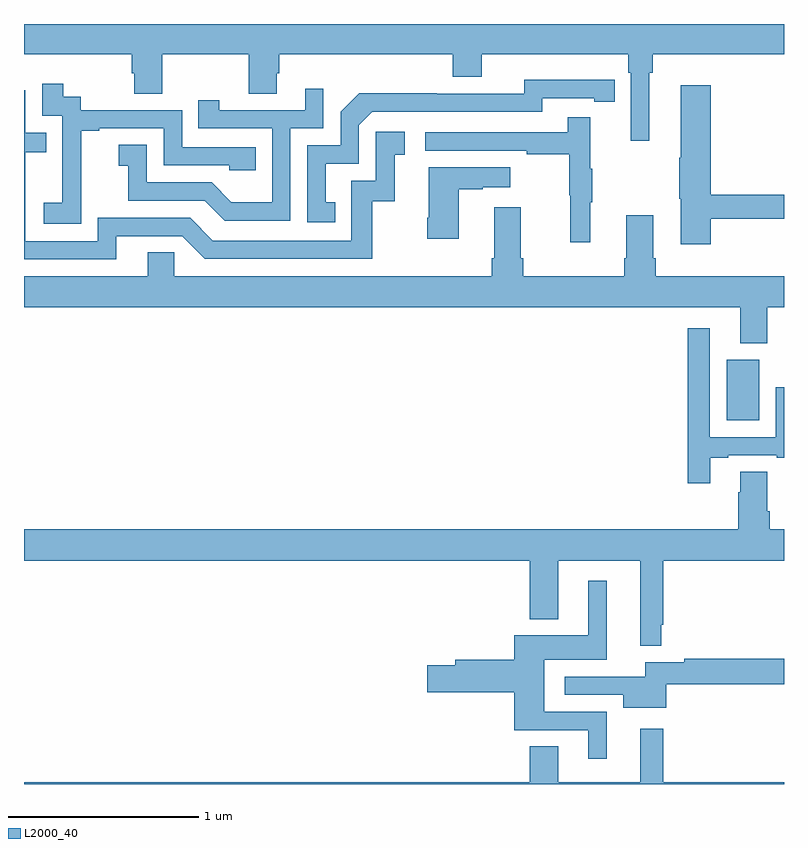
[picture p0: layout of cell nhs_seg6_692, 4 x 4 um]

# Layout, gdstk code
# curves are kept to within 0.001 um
import gdstk
lib = gdstk.Library(unit=1e-6, precision=1e-09)
def R(c, l, rs):  # rectangles x0, y0, x1, y1
    for r in rs: c.add(gdstk.rectangle(r[:2], r[2:], *l))
def P(c, l, *ps):  # polygons
    for p in ps: c.add(gdstk.Polygon(p, *l))
L2000_40 = (2000, 40)

nhs_seg6_692 = lib.new_cell('nhs_seg6_692')
R(nhs_seg6_692, L2000_40, [(158.699,941.414,158.869,941.734)])
P(nhs_seg6_692, L2000_40, [(155,943.34),(155.567,943.34),(155.567,943.242),(155.579,943.242),(155.579,943.132),(155.727,943.132),(155.727,943.34),(156.184,943.34),(156.184,943.132),(156.331,943.132),(156.331,943.242),(156.344,943.242),(156.344,943.34),(157.256,943.34),(157.256,943.223),(157.408,943.223),(157.408,943.34),(158.18,943.34),(158.18,943.244),(158.193,943.244),(158.193,942.885),(158.29,942.885),(158.29,943.244),(158.309,943.244),(158.309,943.34),(159,943.34),(159,943.5),(155,943.5)],
  [(156.638,942.561),(156.589,942.561),(156.589,942.765),(156.762,942.765),(156.762,942.966),(156.834,943.038),(157.728,943.038),(157.728,943.11),(158,943.11),(158,943.09),(158.108,943.09),(158.108,943.206),(157.632,943.207),(157.632,943.134),(157.172,943.134),(157.172,943.136),(156.764,943.136),(156.666,943.038),(156.666,942.861),(156.492,942.861),(156.492,942.456),(156.638,942.456)],
  [(155.301,942.655),(155.3,942.655),(155.3,942.939),(155.395,942.939),(155.395,942.951),(155.736,942.951),(155.736,942.756),(156.081,942.756),(156.081,942.729),(156.221,942.729),(156.221,942.852),(155.832,942.852),(155.832,943.047),(155.298,943.047),(155.298,943.116),(155.206,943.116),(155.206,943.186),(155.097,943.186),(155.097,943.017),(155.202,943.017),(155.202,942.788),(155.201,942.788),(155.201,942.559),(155.103,942.559),(155.103,942.449),(155.301,942.449)],
  [(158.615,942.474),(159,942.474),(159,942.602),(158.615,942.602),(158.615,943.177),(158.456,943.177),(158.456,942.797),(158.449,942.797),(158.449,942.579),(158.456,942.579),(158.456,942.342),(158.615,942.342)],
  [(156.402,942.951),(156.576,942.951),(156.576,943.159),(156.479,943.159),(156.479,943.047),(156.028,943.047),(156.028,943.099),(155.917,943.099),(155.917,942.951),(156.306,942.951),(156.306,942.562),(156.092,942.562),(155.988,942.666),(155.646,942.666),(155.646,942.865),(155.499,942.865),(155.499,942.755),(155.548,942.755),(155.548,942.57),(155.951,942.57),(156.056,942.465),(156.402,942.465)],
  [(155.485,942.384),(155.832,942.384),(155.952,942.264),(156.832,942.264),(156.832,942.567),(156.95,942.567),(156.95,942.813),(157.003,942.813),(157.003,942.934),(156.852,942.934),(156.852,942.675),(156.723,942.675),(156.723,942.36),(155.994,942.36),(155.874,942.48),(155.388,942.48),(155.388,942.357),(155.007,942.357),(155.007,942.826),(155.117,942.826),(155.117,942.927),(155.007,942.927),(155.007,943.152),(155,943.152),(155,942.261),(155.485,942.261)],
  [(157.979,942.563),(157.99,942.563),(157.99,942.737),(157.979,942.737),(157.979,943.009),(157.861,943.009),(157.861,942.93),(157.113,942.93),(157.113,942.834),(157.645,942.834),(157.645,942.814),(157.869,942.814),(157.869,942.6),(157.876,942.6),(157.876,942.351),(157.979,942.351)],
  [(157.288,942.631),(157.415,942.631),(157.415,942.641),(157.558,942.641),(157.558,942.745),(157.13,942.745),(157.13,942.481),(157.123,942.481),(157.123,942.369),(157.288,942.369)],
  [(158.911,942.008),(159,942.008),(159,942.172),(158.324,942.172),(158.324,942.268),(158.311,942.268),(158.311,942.493),(158.171,942.493),(158.171,942.268),(158.159,942.268),(158.159,942.172),(157.628,942.172),(157.628,942.268),(157.615,942.268),(157.615,942.535),(157.475,942.535),(157.475,942.268),(157.463,942.268),(157.463,942.172),(155.79,942.172),(155.79,942.299),(155.651,942.299),(155.651,942.172),(155,942.172),(155,942.008),(158.771,942.008),(158.771,941.819),(158.911,941.819)],
  [(158.611,941.217),(158.707,941.217),(158.707,941.229),(158.963,941.229),(158.963,941.217),(159,941.217),(159,941.587),(158.957,941.587),(158.957,941.325),(158.61,941.325),(158.61,941.899),(158.494,941.899),(158.494,941.082),(158.611,941.082)],
  [(158.354,940.339),(158.365,940.339),(158.365,940.676),(159,940.676),(159,940.84),(158.924,940.84),(158.924,940.936),(158.911,940.936),(158.911,941.144),(158.771,941.144),(158.771,941.036),(158.759,941.036),(158.759,940.84),(155,940.84),(155,940.676),(157.661,940.676),(157.661,940.367),(157.813,940.367),(157.813,940.676),(158.243,940.676),(158.243,940.227),(158.354,940.227)],
  [(158.068,939.879),(157.738,939.879),(157.738,940.154),(158.068,940.154),(158.068,940.57),(157.97,940.57),(157.97,940.282),(157.58,940.282),(157.58,940.154),(157.271,940.154),(157.271,940.124),(157.122,940.124),(157.122,939.982),(157.58,939.982),(157.58,939.783),(157.97,939.783),(157.97,939.633),(158.068,939.633)],
  [(158.38,940.024),(159,940.024),(159,940.16),(158.476,940.16),(158.476,940.14),(158.27,940.14),(158.27,940.065),(157.845,940.065),(157.845,939.969),(158.153,939.969),(158.153,939.902),(158.38,939.902)],
  [(159,939.508),(158.365,939.508),(158.365,939.79),(158.243,939.79),(158.243,939.508),(157.813,939.508),(157.813,939.698),(157.661,939.698),(157.661,939.508),(155,939.508),(155,939.5),(159,939.5)])

lib.write_gds('nhs_seg6_692.gds')
